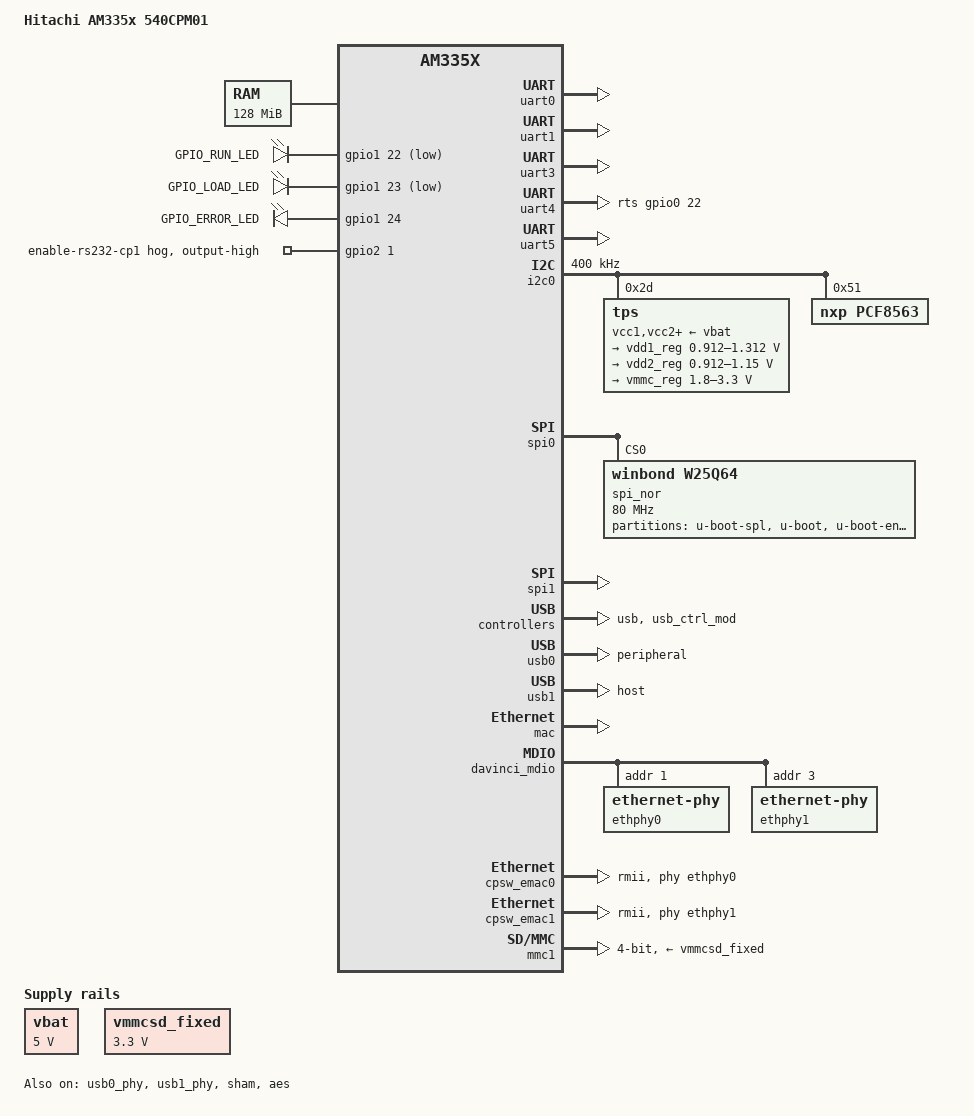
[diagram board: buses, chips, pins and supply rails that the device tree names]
/*
 * Copyright 2024 Hitachi Energy.
 *
 * This program is free software; you can redistribute it and/or modify
 * it under the terms of the GNU General Public License version 2 as
 * published by the Free Software Foundation.
 */

/* Hitachi 540CPM01 */

/dts-v1/;

#include "am33xx.dtsi"
#include "dt-bindings/input/input.h"

/ {
	model = "Hitachi AM335x 540CPM01";
	compatible = "ti,am335x-evm", "ti,am33xx", "hitachi,am335x-560cmr0x";

	cpus {
		cpu@0 {
			cpu0-supply = <&vdd1_reg>;
		};
	};

	memory {
		device_type = "memory";
		reg = <0x80000000 0x8000000>; /* 128 MB */
	};

	vbat: fixedregulator@0 {
		compatible = "regulator-fixed";
		regulator-name = "vbat";
		regulator-min-microvolt = <5000000>;
		regulator-max-microvolt = <5000000>;
		regulator-boot-on;
	};

	vmmcsd_fixed: fixedregulator-sd {
		compatible = "regulator-fixed";
		regulator-name = "vmmcsd_fixed";
		regulator-min-microvolt = <3300000>;
		regulator-max-microvolt = <3300000>;
		enable-active-high;
	};

	status_leds {
		compatible = "gpio-leds";
		pinctrl-names = "default";
		pinctrl-0 = <&leds_pins_default>;
		led-green {
			label = "GPIO_RUN_LED";
			gpios = <&gpio1 22 GPIO_ACTIVE_LOW>;
			default-state = "off";
		};
		led-yellow {
			label = "GPIO_LOAD_LED";
			gpios = <&gpio1 23 GPIO_ACTIVE_LOW>;
			default-state = "off";
		};
		led-red {
			label = "GPIO_ERROR_LED";
			gpios = <&gpio1 24 GPIO_ACTIVE_HIGH>;
			default-state = "on";
		};
	};
	
	pg_bootcounter@0 {
			compatible = "hitachi,pg-bootcounter";
			base = <0x4030B7F0>;
			maxboot = <3>;
	};	
};

&am33xx_pinmux {
	pinctrl-names = "default";
	pinctrl-0 = <&clkout_pins_default &clkin_pins_default>;

	leds_pins_default: leds_default_pinmux {
		pinctrl-single,pins = <
			AM33XX_PADCONF(AM335X_PIN_GPMC_A6, PIN_OUTPUT_PULLUP, MUX_MODE7)	/* gpmc_a6.gpio1_22		=> GPIO_RUN_LED */
			AM33XX_PADCONF(AM335X_PIN_GPMC_A7, PIN_OUTPUT_PULLUP, MUX_MODE7)	/* gpmc_a7.gpio1_23		=> GPIO_LOAD_LED */
			AM33XX_PADCONF(AM335X_PIN_GPMC_A8, PIN_OUTPUT_PULLUP, MUX_MODE7)	/* gpmc_a8.gpio1_24		=> GPIO_ERROR_LED (high pull-up) */
		>;
	};

	clkout_pins_default: clkout_default_pinmux {
		pinctrl-single,pins = <
			AM33XX_PADCONF(AM335X_PIN_GPMC_BEN0_CLE, PIN_OUTPUT_PULLDOWN, MUX_MODE2)	/* gpmc_ben0_cle.timer5_clkout */
		>;
	};

	clkin_pins_default: clkin_default_pinmux {
		pinctrl-single,pins = <
			AM33XX_PADCONF(AM335X_PIN_XDMA_EVENT_INTR1, PIN_INPUT_PULLUP, MUX_MODE2)	/* xdma_event_intr1.tclkin */
		>;
	};

	i2c0_pins_default: i2c0_default_pinmux {
		pinctrl-single,pins = <
			AM33XX_PADCONF(AM335X_PIN_I2C0_SDA, PIN_INPUT_PULLUP, MUX_MODE0)	/* i2c0_sda.i2c0_sda */
			AM33XX_PADCONF(AM335X_PIN_I2C0_SCL, PIN_INPUT_PULLUP, MUX_MODE0)	/* i2c0_scl.i2c0_scl */
		>;
	};

	spi0_pins_default: spi0_default_pinmux {
		pinctrl-single,pins = <
			AM33XX_PADCONF(AM335X_PIN_SPI0_SCLK, PIN_INPUT_PULLUP, MUX_MODE0)	/* spi0_sclk.spi0_sclk *
			AM33XX_PADCONF(AM335X_PIN_SPI0_D0, PIN_INPUT_PULLUP, MUX_MODE0)		/* spi0_d0.spi0_d0 */
			AM33XX_PADCONF(AM335X_PIN_SPI0_D1, PIN_INPUT_PULLUP, MUX_MODE0)		/* spi0_d1.spi0_d1 */
			AM33XX_PADCONF(AM335X_PIN_SPI0_CS0, PIN_INPUT_PULLUP, MUX_MODE0)	/* spi0_cs0.spi0_cs0 */
		>;
	};

	spi1_pins_default: spi1_default_pinmux {
		pinctrl-single,pins = <
			AM33XX_PADCONF(AM335X_PIN_MCASP0_ACLKX, PIN_INPUT_PULLUP, MUX_MODE3)	/* mcasp0_aclkx.spi1_sclk *
			AM33XX_PADCONF(AM335X_PIN_UART0_CTSN, PIN_INPUT_PULLUP, MUX_MODE4)	/* uart0_ctsn.spi1_d0 */
			AM33XX_PADCONF(AM335X_PIN_UART0_RTSN, PIN_INPUT_PULLUP, MUX_MODE4)	/* uart0_rtsn.spi1_d1 */
			AM33XX_PADCONF(AM335X_PIN_MCASP0_AHCLKR, PIN_INPUT_PULLUP, MUX_MODE3)	/* mcasp0_ahclkr.spi1_cs0 */
			AM33XX_PADCONF(AM335X_PIN_XDMA_EVENT_INTR0, PIN_INPUT_PULLUP, MUX_MODE4)	/* xdma_event_intr0.spi1_cs1 */
		>;
	};

	uart0_pins_default: uart0_default_pinmux {
		pinctrl-single,pins = <
			AM33XX_PADCONF(AM335X_PIN_UART0_RXD, PIN_INPUT_PULLUP, MUX_MODE0)	/* uart0_rxd.uart0_rxd */
			AM33XX_PADCONF(AM335X_PIN_UART0_TXD, PIN_OUTPUT_PULLDOWN, MUX_MODE0)	/* uart0_txd.uart0_txd */
		>;
	};

	uart1_pins_default: uart1_default_pinmux {
		pinctrl-single,pins = <
			AM33XX_PADCONF(AM335X_PIN_UART1_CTSN, PIN_INPUT, MUX_MODE0)		/* uart1_ctsn.uart1_ctsn */
			AM33XX_PADCONF(AM335X_PIN_UART1_RTSN, PIN_OUTPUT_PULLDOWN, MUX_MODE0)	/* uart1_rtsn.uart1_rtsn */
			AM33XX_PADCONF(AM335X_PIN_UART1_RXD, PIN_INPUT_PULLUP, MUX_MODE0)	/* uart1_rxd.uart1_rxd */
			AM33XX_PADCONF(AM335X_PIN_UART1_TXD, PIN_OUTPUT_PULLDOWN, MUX_MODE0)	/* uart1_txd.uart1_txd */
			AM33XX_PADCONF(AM335X_PIN_MII1_TX_CLK, PIN_INPUT_PULLUP, MUX_MODE5)	/* mii1_tx_clk.uart1_dcdn */
			AM33XX_PADCONF(AM335X_PIN_MII1_RXD3, PIN_OUTPUT_PULLDOWN, MUX_MODE5)	/* mii1_rxd3.uart1_dtrn */
			AM33XX_PADCONF(AM335X_PIN_MII1_RX_CLK, PIN_INPUT_PULLUP, MUX_MODE5)	/* mii1_rx_clk.uart1_dsrn */
		>;
	};

	uart3_pins_default: uart3_default_pinmux {
		pinctrl-single,pins = <
			AM33XX_PADCONF(AM335X_PIN_LCD_DATA11, PIN_OUTPUT_PULLDOWN, MUX_MODE6)	/* lcd_data11.uart3_rtsn */
			AM33XX_PADCONF(AM335X_PIN_SPI0_CS1, PIN_INPUT_PULLUP, MUX_MODE1)	/* spi0_cs1.uart3_rxd */
		>;
	};

	uart4_pins_default: uart4_default_pinmux {
		pinctrl-single,pins = <
			AM33XX_PADCONF(AM335X_PIN_GPMC_AD8, PIN_OUTPUT_PULLDOWN, MUX_MODE7)	/* gpmc_ad8.gpio0_22		=> GPIO_UART4_RTSN */
			AM33XX_PADCONF(AM335X_PIN_MII1_TXD3, PIN_INPUT_PULLUP, MUX_MODE3)	/* mii1_txd3.uart4_rxd */
			AM33XX_PADCONF(AM335X_PIN_MII1_TXD2, PIN_OUTPUT_PULLDOWN, MUX_MODE3)	/* mii1_txd2.uart4_txd */
		>;
	};

	uart5_pins_default: uart5_default_pinmux {
		pinctrl-single,pins = <
			AM33XX_PADCONF(AM335X_PIN_LCD_DATA14, PIN_INPUT, MUX_MODE6)		/* lcd_data14.uart5_ctsn */
			AM33XX_PADCONF(AM335X_PIN_LCD_DATA15, PIN_OUTPUT_PULLDOWN, MUX_MODE6)	/* lcd_data15.uart5_rtsn */
			AM33XX_PADCONF(AM335X_PIN_LCD_DATA9, PIN_INPUT_PULLUP, MUX_MODE4)	/* lcd_data9.uart5_rxd */
			AM33XX_PADCONF(AM335X_PIN_MII1_RX_DV, PIN_OUTPUT_PULLDOWN, MUX_MODE3)	/* mii1_rx_dv.uart5_txd */
			AM33XX_PADCONF(AM335X_PIN_LCD_DATA10, PIN_INPUT_PULLDOWN, MUX_MODE7)	/* lcd_data10.gpio2_16		=> GPIO_UART5_DCDN */
			AM33XX_PADCONF(AM335X_PIN_LCD_VSYNC, PIN_OUTPUT, MUX_MODE7)		/* lcd_vsync.gpio2_22		=> GPIO_UART5_DTR */
			AM33XX_PADCONF(AM335X_PIN_LCD_PCLK, PIN_INPUT_PULLDOWN, MUX_MODE7)	/* lcd_pclk.gpio2_24		=> GPIO_UART5_DSRN */
		>;
	};

	gpio0_pins_default: gpio0_default_pinmux {
		pinctrl-single,pins = <
			AM33XX_PADCONF(AM335X_PIN_LCD_DATA12, PIN_OUTPUT, MUX_MODE7)		/* lcd_data12.gpio0_8		=> GPIO_TEST_CR2032_BAT */
			AM33XX_PADCONF(AM335X_PIN_GPMC_AD9, PIN_OUTPUT_PULLDOWN, MUX_MODE7)	/* gpmc_ad9.gpio0_23		=> GPIO_WOR_HW_RESET */
		>;
	};

	gpio1_pins_default: gpio1_default_pinmux {
		pinctrl-single,pins = <
			AM33XX_PADCONF(AM335X_PIN_GPMC_AD12, PIN_OUTPUT, MUX_MODE7)		/* gpmc_ad12.gpio1_12		=> GPIO_TERM_CP1_CPM01 */
			AM33XX_PADCONF(AM335X_PIN_GPMC_AD13, PIN_OUTPUT, MUX_MODE7)		/* gpmc_ad13.gpio1_13		=> GPIO_TERM_CP2_CPM01 */
			AM33XX_PADCONF(AM335X_PIN_GPMC_AD15, PIN_INPUT_PULLDOWN, MUX_MODE7)	/* gpmc_ad15.gpio1_15		=> GPIO_ETH_RSTN */
			AM33XX_PADCONF(AM335X_PIN_GPMC_A2, PIN_OUTPUT_PULLDOWN, MUX_MODE7)	/* gpmc_a2.gpio1_18		=> GPIO_PMIC_SLEEP */
			AM33XX_PADCONF(AM335X_PIN_GPMC_BEN1, PIN_INPUT, MUX_MODE7)		/* gpmc_ben1.gpio1_28		=> GPIO_24V_OK */
			AM33XX_PADCONF(AM335X_PIN_GPMC_CSN0, PIN_OUTPUT, MUX_MODE7)		/* gpmc_csn0.gpio1_29		=> GPIO_EN_RS232_CP2 */
		>;
	};

	gpio2_pins_default: gpio2_default_pinmux {
		pinctrl-single,pins = <
			AM33XX_PADCONF(AM335X_PIN_GPMC_CLK, PIN_OUTPUT, MUX_MODE7)		/* gpmc_clk.gpio2_1		=> GPIO_EN_RS232_CP1 */
			AM33XX_PADCONF(AM335X_PIN_LCD_DATA0, PIN_OUTPUT, MUX_MODE7)		/* lcd_data0.gpio2_6		=> GPIO_DEBUG_IO0 */
			AM33XX_PADCONF(AM335X_PIN_LCD_DATA1, PIN_OUTPUT, MUX_MODE7)		/* lcd_data1.gpio2_7		=> GPIO_DEBUG_IO1 */
			AM33XX_PADCONF(AM335X_PIN_MII1_RXD2, PIN_OUTPUT, MUX_MODE7)		/* mii1_rxd2.gpio2_19		=> GPIO_IOM_RSTN */
			AM33XX_PADCONF(AM335X_PIN_LCD_AC_BIAS_EN, PIN_OUTPUT, MUX_MODE7)	/* lcd_ac_bias_en.gpio2_25	=> GPIO_24V_ON */
		>;
	};

	gpio3_pins_default: gpio3_default_pinmux {
		pinctrl-single,pins = <
			AM33XX_PADCONF(AM335X_PIN_EMU0, PIN_OUTPUT, MUX_MODE7)			/* emu0.gpio3_7			=> GPIO_DEBUG_IO2 */
			AM33XX_PADCONF(AM335X_PIN_EMU1, PIN_OUTPUT, MUX_MODE7)			/* emu1.gpio3_8			=> GPIO_DEBUG_IO3 */
			AM33XX_PADCONF(AM335X_PIN_MCASP0_ACLKR, PIN_INPUT_PULLUP, MUX_MODE7)	/* mcasp0_aclkr.gpio3_18	=> GPIO_BOARD_ID0 */
			AM33XX_PADCONF(AM335X_PIN_MCASP0_FSR, PIN_INPUT_PULLUP, MUX_MODE7)	/* mcasp0_fsr.gpio3_19		=> GPIO_BOARD_ID1 */
			AM33XX_PADCONF(AM335X_PIN_MCASP0_AXR1, PIN_INPUT_PULLUP, MUX_MODE7)	/* mcasp0_axr1.gpio3_20		=> GPIO_BOARD_ID2 */
		>;
	};

	eth_cpsw_pins_default: eth_cpsw_default_pinmux {
		pinctrl-single,pins = <
			/* E1 interface, RMII mode */
			AM33XX_PADCONF(AM335X_PIN_MII1_CRS, PIN_INPUT_PULLUP, MUX_MODE1)	/* mii1_crs.rmii1_crs_dv */
			AM33XX_PADCONF(AM335X_PIN_RMII1_REF_CLK, PIN_INPUT_PULLUP, MUX_MODE0)	/* rmii1_ref_clk.rmii1_ref_clk */
			AM33XX_PADCONF(AM335X_PIN_MII1_RXD0, PIN_INPUT_PULLUP, MUX_MODE1)	/* mii1_rxd0.rmii1_rxd0 */
			AM33XX_PADCONF(AM335X_PIN_MII1_RXD1, PIN_INPUT_PULLUP, MUX_MODE1)	/* mii1_rxd1.rmii1_rxd1 */
			AM33XX_PADCONF(AM335X_PIN_MII1_RX_ER, PIN_INPUT_PULLUP, MUX_MODE1)	/* mii1_rx_er.rmii1_rx_er */
			AM33XX_PADCONF(AM335X_PIN_MII1_TXD0, PIN_OUTPUT_PULLDOWN, MUX_MODE1)	/* mii1_txd0.rmii1_txd0 */
			AM33XX_PADCONF(AM335X_PIN_MII1_TXD1, PIN_OUTPUT_PULLDOWN, MUX_MODE1)	/* mii1_txd1.rmii1_txd1 */
			AM33XX_PADCONF(AM335X_PIN_MII1_TX_EN, PIN_OUTPUT_PULLDOWN, MUX_MODE1)	/* mii1_tx_en.rmii1_tx_en */
			AM33XX_PADCONF(AM335X_PIN_LCD_DATA4, PIN_OUTPUT, MUX_MODE7)		/* lcd_data4.gpio2_10		=> GPIO_E1_LED_SPEED */

			/* E2 interface, RMII mode */
			AM33XX_PADCONF(AM335X_PIN_GPMC_WAIT0, PIN_INPUT_PULLUP, MUX_MODE3)	/* gpmc_wait0.rmii2_crs_dv */
			AM33XX_PADCONF(AM335X_PIN_MII1_COL, PIN_INPUT_PULLUP, MUX_MODE1)	/* mii1_col.rmii2_refclk */
			AM33XX_PADCONF(AM335X_PIN_GPMC_A11, PIN_INPUT_PULLUP, MUX_MODE3)	/* gpmc_a11.rmii2_rxd0 */
			AM33XX_PADCONF(AM335X_PIN_GPMC_A10, PIN_INPUT_PULLUP, MUX_MODE3)	/* gpmc_a10.rmii2_rxd1 */
			AM33XX_PADCONF(AM335X_PIN_GPMC_WPN, PIN_INPUT_PULLUP, MUX_MODE3)	/* gpmc_wpn.rmii2_rxerr */
			AM33XX_PADCONF(AM335X_PIN_GPMC_A5, PIN_OUTPUT_PULLDOWN, MUX_MODE3)	/* gpmc_a5.rmii2_txd0 */
			AM33XX_PADCONF(AM335X_PIN_GPMC_A4, PIN_OUTPUT_PULLDOWN, MUX_MODE3)	/* gpmc_a4.rmii2_txd1 */
			AM33XX_PADCONF(AM335X_PIN_GPMC_A0, PIN_OUTPUT_PULLDOWN, MUX_MODE3)	/* gpmc_a0.rmii2_txen */
			AM33XX_PADCONF(AM335X_PIN_LCD_DATA5, PIN_OUTPUT, MUX_MODE7)		/* lcd_data5.gpio2_11		=> GPIO_E2_LED_SPEED */
		>;
	};

	mdio_pins_default: mdio_default_pinmux {
		pinctrl-single,pins = <
			/* MDIO */
			AM33XX_PADCONF(AM335X_PIN_MDIO, PIN_INPUT_PULLUP | SLEWCTRL_FAST, MUX_MODE0)	/* mdio.mdio */
			AM33XX_PADCONF(AM335X_PIN_MDC, PIN_OUTPUT_PULLUP, MUX_MODE0)			/* mdc.mdc */
		>;
	};

	mmc1_pins_default: mmc1_default_pinmux {
		pinctrl-single,pins = <
			AM33XX_PADCONF(AM335X_PIN_MMC0_DAT0, PIN_INPUT_PULLUP, MUX_MODE0)	/* mmc0_dat0.mmc0_dat0 */
			AM33XX_PADCONF(AM335X_PIN_MMC0_DAT1, PIN_INPUT_PULLUP, MUX_MODE0)	/* mmc0_dat1.mmc0_dat1 */
			AM33XX_PADCONF(AM335X_PIN_MMC0_DAT2, PIN_INPUT_PULLUP, MUX_MODE0)	/* mmc0_dat2.mmc0_dat2 */
			AM33XX_PADCONF(AM335X_PIN_MMC0_DAT3, PIN_INPUT_PULLUP, MUX_MODE0)	/* mmc0_dat3.mmc0_dat3 */
			AM33XX_PADCONF(AM335X_PIN_MMC0_CMD, PIN_INPUT_PULLUP, MUX_MODE0)	/* mmc0_cmd.mmc0_cmd */
			AM33XX_PADCONF(AM335X_PIN_MMC0_CLK, PIN_INPUT_PULLUP, MUX_MODE0)	/* mmc0_clk.mmc0_clk */
			AM33XX_PADCONF(AM335X_PIN_GPMC_A1, PIN_INPUT, MUX_MODE7)		/* gpmc_a1.gpio1_17		=> GPIO_MMC0_SDCD */
		>;
	};

	usb0_pins_default: usb0_default_pinmux {
		pinctrl-single,pins = <
			AM33XX_PADCONF(AM335X_PIN_USB0_DRVVBUS, PIN_OUTPUT, MUX_MODE0)		/* usb0_drvvbus.usb0_drvvbus */
			AM33XX_PADCONF(AM335X_PIN_GPMC_A9, PIN_INPUT, MUX_MODE7)		/* gpmc_a9.gpio1_25		=> GPIO_USB0_OVCURR */
		>;
	};

	usb1_pins_default: usb1_default_pinmux {
		pinctrl-single,pins = <
			AM33XX_PADCONF(AM335X_PIN_USB1_DRVVBUS, PIN_OUTPUT, MUX_MODE0)		/* usb1_drvvbus.usb1_drvvbus */
			AM33XX_PADCONF(AM335X_PIN_MCASP0_FSX, PIN_INPUT, MUX_MODE7)		/* mcasp0_fsx.gpio3_15		=> GPIO_USB1_OVCURR */
		>;
	};
};

&uart0 {
	status = "okay";
	pinctrl-names = "default";
	pinctrl-0 = <&uart0_pins_default>;
	u-boot,dm-spl;
};

&uart1 {
	status = "okay";
	pinctrl-names = "default";
	pinctrl-0 = <&uart1_pins_default>;
	u-boot,dm-spl;
};

&uart3 {
	status = "okay";
	pinctrl-names = "default";
	pinctrl-0 = <&uart3_pins_default>;
};

&uart4 {
	status = "okay";
	pinctrl-names = "default";
	pinctrl-0 = <&uart4_pins_default>;
	rts-gpios = <&gpio0 22 GPIO_ACTIVE_HIGH>;
};

&uart5 {
	status = "okay";
	pinctrl-names = "default";
	pinctrl-0 = <&uart5_pins_default>;
	dcd-gpios = <&gpio2 16 GPIO_ACTIVE_HIGH>;
	dtr-gpios = <&gpio2 22 GPIO_ACTIVE_HIGH>;
	dsr-gpios = <&gpio2 24 GPIO_ACTIVE_HIGH>;
};

&i2c0 {
	pinctrl-names = "default";
	pinctrl-0 = <&i2c0_pins_default>;

	status = "okay";
	clock-frequency = <400000>;

	tps: tps@2d {
		reg = <0x2d>;
	};

	pcf8563@51 {
		compatible = "nxp,pcf8563";
		reg = <0x51>;
	};
};

/include/ "tps65910.dtsi"

&tps {
	vcc1-supply = <&vbat>;
	vcc2-supply = <&vbat>;
	vcc3-supply = <&vbat>;
	vcc4-supply = <&vbat>;
	vcc5-supply = <&vbat>;
	vcc6-supply = <&vbat>;
	vcc7-supply = <&vbat>;
	vccio-supply = <&vbat>;

	regulators {
		vrtc_reg: regulator@0 {
			regulator-always-on;
		};

		vio_reg: regulator@1 {
			regulator-always-on;
		};

		vdd1_reg: regulator@2 {
			/* VDD_MPU voltage limits 0.95V - 1.26V with +/-4% tolerance */
			regulator-name = "vdd_mpu";
			regulator-min-microvolt = <912500>;
			regulator-max-microvolt = <1312500>;
			regulator-boot-on;
			regulator-always-on;
		};

		vdd2_reg: regulator@3 {
			/* VDD_CORE voltage limits 0.95V - 1.1V with +/-4% tolerance */
			regulator-name = "vdd_core";
			regulator-min-microvolt = <912500>;
			regulator-max-microvolt = <1150000>;
			regulator-boot-on;
			regulator-always-on;
		};

		vdd3_reg: regulator@4 {
			regulator-always-on;
		};

		vdig1_reg: regulator@5 {
			regulator-always-on;
		};

		vdig2_reg: regulator@6 {
			regulator-always-on;
		};

		vpll_reg: regulator@7 {
			regulator-always-on;
		};

		vdac_reg: regulator@8 {
			regulator-always-on;
		};

		vaux1_reg: regulator@9 {
			regulator-always-on;
		};

		vaux2_reg: regulator@10 {
			regulator-always-on;
		};

		vaux33_reg: regulator@11 {
			regulator-always-on;
		};

		vmmc_reg: regulator@12 {
			regulator-min-microvolt = <1800000>;
			regulator-max-microvolt = <3300000>;
			regulator-always-on;
		};
	};
};

&spi0 {
	status = "okay";
	pinctrl-names = "default";
	pinctrl-0 = <&spi0_pins_default>;
	u-boot,dm-spl;

	spi_nor: flash@0 {
		#address-cells = <1>;
		#size-cells = <1>;
		compatible = "winbond,w25q64", "jedec,spi-nor";
		spi-max-frequency = <80000000>;
		m25p,fast-read;
		reg = <0>;

		partition@0 {
			label = "u-boot-spl";
			reg = <0x0 0x80000>;
			read-only;
		};

		partition@1 {
			label = "u-boot";
			reg = <0x80000 0x100000>;
			read-only;
		};

		partition@2 {
			label = "u-boot-env";
			reg = <0x180000 0x20000>;
			read-only;
		};

		partition@3 {
			label = "misc";
			reg = <0x1A0000 0x660000>;
		};
	};
};

&spi1 {
	status = "okay";
	pinctrl-names = "default";
	pinctrl-0 = <&spi1_pins_default>;
};

&usb {
	status = "okay";
};

&usb_ctrl_mod {
	status = "okay";
};

&usb0_phy {
	status = "okay";
};

&usb1_phy {
	status = "okay";
};

&usb0 {
	status = "okay";
	pinctrl-names = "default";
	pinctrl-0 = <&usb0_pins_default>;
	dr_mode = "peripheral";
};

&usb1 {
	status = "okay";
	pinctrl-names = "default";
	pinctrl-0 = <&usb1_pins_default>;
	dr_mode = "host";
};

&cppi41dma  {
	status = "okay";
};

&mac {
	status = "okay";
	pinctrl-names = "default";
	pinctrl-0 = <&eth_cpsw_pins_default>;
	dual_emac;
};

&davinci_mdio {
	status = "okay";
	pinctrl-names = "default";
	pinctrl-0 = <&mdio_pins_default>;

	ethphy0: ethernet-phy@1 {
		reg = <1>;
	};

	ethphy1: ethernet-phy@3 {
		reg = <3>;
	};
};

&cpsw_emac0 {
	phy-handle = <&ethphy0>;
	phy-mode = "rmii";
	dual_emac_res_vlan = <1>;
};

&cpsw_emac1 {
	phy-handle = <&ethphy1>;
	phy-mode = "rmii";
	dual_emac_res_vlan = <2>;
};

&mmc1 {
	status = "okay";
	vmmc-supply = <&vmmcsd_fixed>;
	bus-width = <4>;
	pinctrl-names = "default";
	pinctrl-0 = <&mmc1_pins_default>;
	brocken-cd;
	u-boot,dm-spl;
};

&sham {
	status = "okay";
};

&aes {
	status = "okay";
};

&sgx {
	status = "disabled";
};

&gpio0 {
	status = "okay";
	pinctrl-names = "default";
	pinctrl-0 = <&gpio0_pins_default>;
	gpio-line-names =
		"",                     "",   "",                "",                  /* 0..3 */
		"",                     "",   "",                "",                  /* 4..7 */
		"GPIO_TEST_CR2032_BAT", "NC", "",                "",                  /* 8..11 */
		"",                     "",   "",                "",                  /* 12..15 */
		"",                     "",   "",                "",                  /* 16..19 */
		"",                     "",   "GPIO_UART4_RTSN", "GPIO_WOR_HW_RESET", /* 20..23 */
		"",                     "",   "NC",              "NC",                /* 24..27 */
		"",                     "",   "",                "";                  /* 28..31 */
};

&gpio1 {
	status = "okay";
	pinctrl-names = "default";
	pinctrl-0 = <&gpio1_pins_default>;
	gpio-line-names =
		"NC",                  "NC",                  "NC",              "NC",            /* 0..3 */
		"NC",                  "NC",                  "NC",              "NC",            /* 4..7 */
		"",                    "",                    "",                "",              /* 8..11 */
		"GPIO_TERM_CP1_CPM01", "GPIO_TERM_CP2_CPM01", "NC",              "GPIO_ETH_RSTN", /* 12..15 */
		"",                    "GPIO_MMC0_SDCD",      "GPIO_PMIC_SLEEP", "NC",            /* 16..19 */
		"",                    "",                    "GPIO_RUN_LED",    "GPIO_LOAD_LED", /* 20..23 */
		"GPIO_ERROR_LED",      "GPIO_USB0_OVCURR",    "",                "",              /* 24..27 */
		"GPIO_24V_OK",         "GPIO_EN_RS232_CP2",   "NC",              "NC";            /* 28..31 */
};

&gpio2 {
	status = "okay";
	pinctrl-names = "default";
	pinctrl-0 = <&gpio2_pins_default>;
	gpio-line-names =
		"NC",              "GPIO_EN_RS232_CP1", "NC",                "NC",                /* 0..3 */
		"NC",              "",                  "GPIO_DEBUG_IO0",    "GPIO_DEBUG_IO1",    /* 4..7 */
		"NC",              "NC",                "GPIO_E1_LED_SPEED", "GPIO_E2_LED_SPEED", /* 8..11 */
		"NC",              "NC",                "NC",                "",                  /* 12..15 */
		"GPIO_UART5_DCDN", "",                  "",                  "GPIO_IOM_RSTN",     /* 16..19 */
		"",                "",                  "GPIO_UART5_DTR",    "NC",                /* 20..23 */
		"GPIO_UART5_DSRN", "GPIO_24V_ON",       "",                  "",                  /* 24..27 */
		"",                "",                  "",                  "";                  /* 28..31 */

    enable-rs232-cp1 {
        gpio-hog;
        gpios = <1 GPIO_ACTIVE_HIGH>;
        output-high;
    };
};

&gpio3 {
	status = "okay";
	pinctrl-names = "default";
	pinctrl-0 = <&gpio3_pins_default>;
	gpio-line-names =
		"",               "",   "",               "",                 /* 0..3 */
		"",               "",   "",               "GPIO_DEBUG_IO2",   /* 4..7 */
		"GPIO_DEBUG_IO3", "",   "",               "",                 /* 8..11 */
		"",               "",   "",               "GPIO_USB1_OVCURR", /* 12..15 */
		"NC",             "",   "GPIO_BOARD_ID0", "GPIO_BOARD_ID1",   /* 16..19 */
		"GPIO_BOARD_ID2", "NC", "",               "",                 /* 20..23 */
		"",               "",   "",               "",                 /* 24..27 */
		"",               "",   "",               "";                 /* 28..31 */
};
